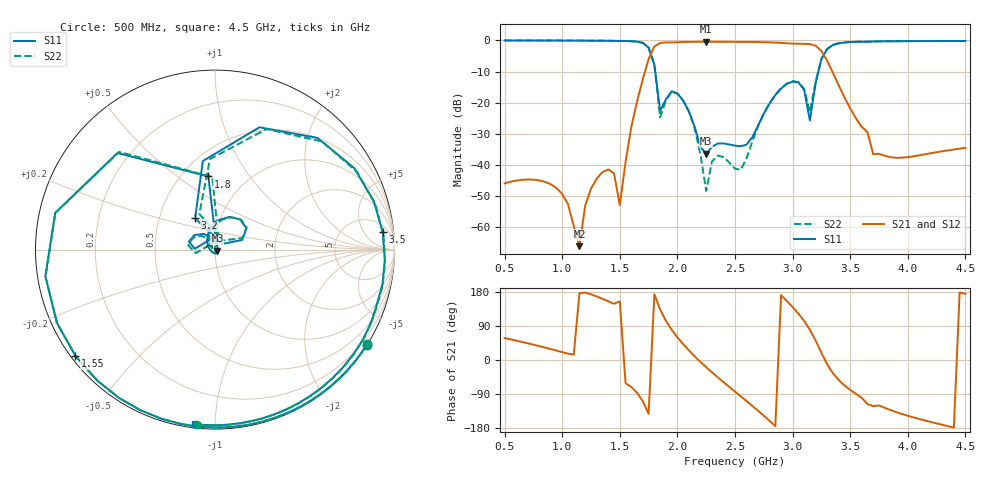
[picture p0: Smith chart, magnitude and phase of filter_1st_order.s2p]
! 2-port S-parameter data
! S-port 1 net1
! S-port 2 net2
# GHz S DB R 50
!freq dBS11 angS11 dBS21 angS21 dBS12 angS12 dBS22 angS22
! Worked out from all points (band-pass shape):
!   81 points, 500 MHz to 4.5 GHz, reference 50 ohm
!   highest |S21| = -0.43 dB at 2.25 GHz (marker M1); lowest = -66.1 dB at 1.15 GHz (marker M2)
!   |S21| within 3 dB of the highest: 1.782 GHz to 3.251 GHz (1.469 GHz wide, 58.4 % of centre)
!   lowest |S11| = -36.4 dB at 2.25 GHz (marker M3), VSWR 1.03, Z = 51.4 - j0.659 ohm
!   |S11| at or under -10 dB: 1.808 GHz to 3.224 GHz (1.417 GHz wide, 56.3 % of centre)
!   |S22| runs from -48.4 to 0.0 dB; largest |S21 - S12| = 3.4e-15
!   S11 on the Smith chart (normalised r, x): 500 MHz: 0.01, -3.48; 1.55 GHz: 0.01, -0.34; 1.8 GHz: 0.67, +0.66; 3.2 GHz: 0.76, +0.28; 3.5 GHz: 9, +14; 4.5 GHz: 0.02, -0.89
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0.5  -0.02 -32.1  -45.96 58.0  -45.96 58.0  -0.01 -31.8
0.95  -0.04 -65.7  -47.46 24.8  -47.46 24.8  -0.04 -65.1
1.15  -0.06 -84.3  -66.15 176.4  -66.15 176.4  -0.06 -83.7
1.2  -0.07 -89.6  -53.01 178.0  -53.01 178.0  -0.07 -88.9
1.4  -0.12 -115.1  -41.49 154.8  -41.49 154.8  -0.12 -114.4
1.5  -0.16 -132.2  -52.93 154.8  -52.93 154.8  -0.16 -131.5
1.55  -0.20 -142.7  -39.07 -61.5  -39.07 -61.5  -0.20 -142.1
1.7  -0.79 167.1  -12.39 -108.8  -12.39 -108.8  -0.80 167.1
1.8  -7.76 95.2  -1.96 173.5  -1.96 173.5  -7.86 92.1
1.85  -22.64 88.4  -0.80 133.1  -0.80 133.1  -24.75 70.3
2.05  -19.32 126.1  -0.53 41.9  -0.53 41.9  -19.35 135.0
2.25  -36.43 -25.2  -0.43 -19.0  -0.43 -19.0  -48.37 -42.2
2.35  -33.16 -80.8  -0.44 -45.6  -0.44 -45.6  -37.00 -108.9
2.5  -33.82 -102.5  -0.46 -83.4  -0.46 -83.4  -41.25 -135.2
2.9  -15.47 81.4  -0.80 170.8  -0.80 170.8  -15.36 77.0
3.05  -13.48 34.4  -1.07 122.5  -1.07 122.5  -13.36 34.8
3.15  -25.74 37.6  -1.18 80.0  -1.18 80.0  -23.06 46.9
3.2  -13.70 122.4  -1.70 51.5  -1.70 51.5  -13.30 113.9
3.3  -2.79 70.0  -6.53 -11.2  -6.53 -11.2  -2.73 66.9
3.5  -0.54 5.9  -21.84 -78.9  -21.84 -78.9  -0.52 4.8
3.85  -0.27 -42.5  -37.55 -132.1  -37.55 -132.1  -0.26 -42.6
4.5  -0.18 -96.6  -34.54 174.7  -34.54 174.7  -0.18 -95.8
